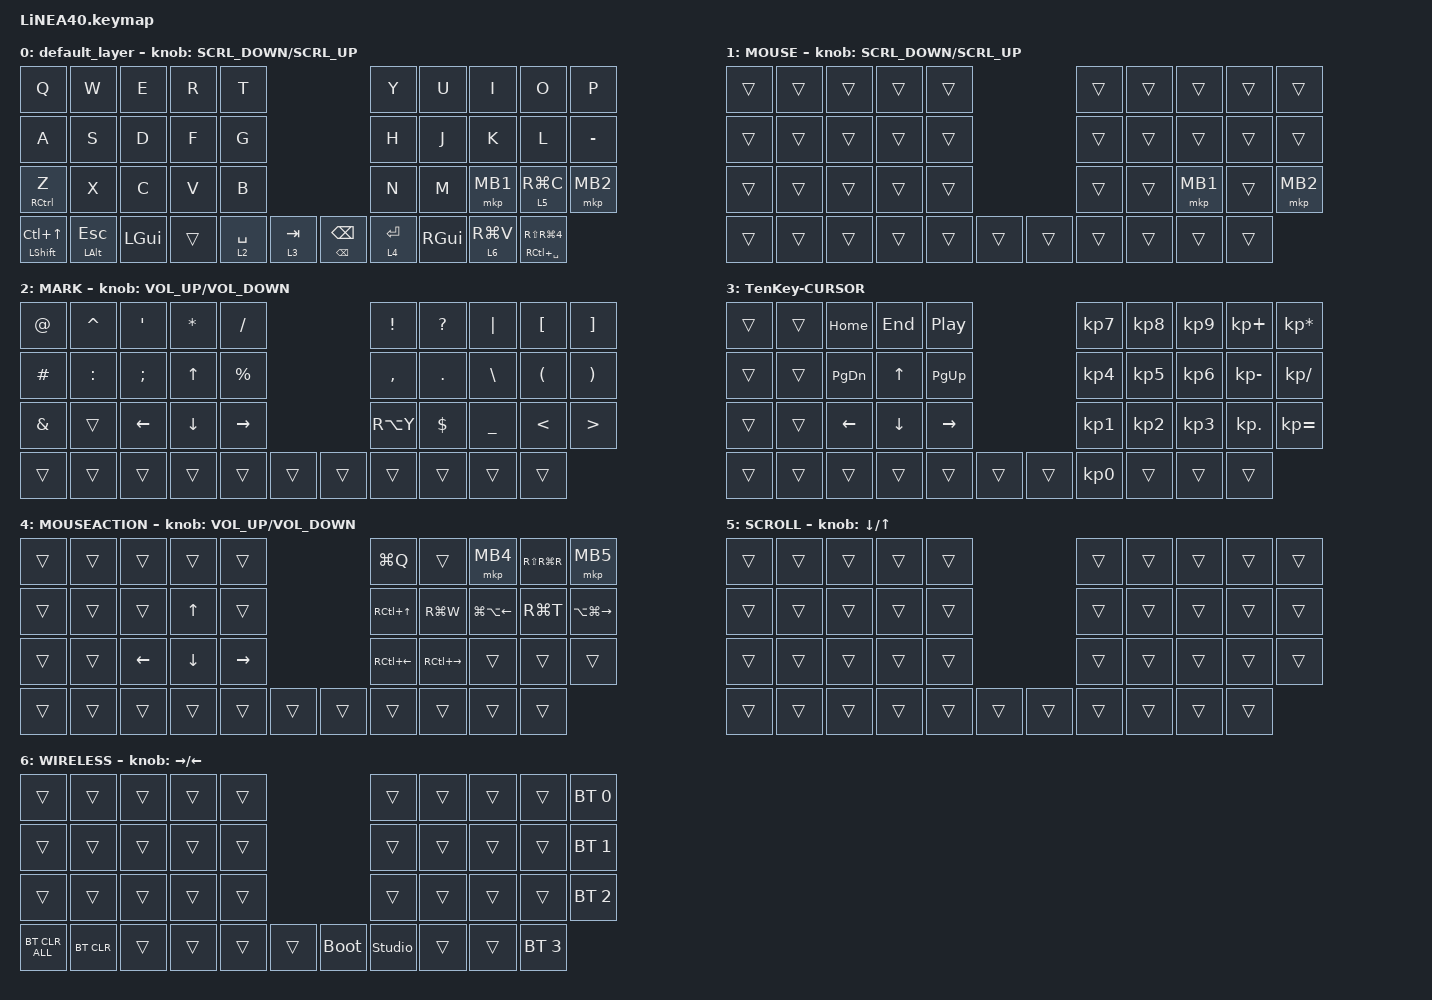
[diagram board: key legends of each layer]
#define ZMK_POINTING_DEFAULT_SCRL_VAL 150

#include <dt-bindings/zmk/input_transform.h>
#include <input/processors.dtsi>
#include <zephyr/dt-bindings/input/input-event-codes.h>
#include <behaviors.dtsi>
#include <dt-bindings/zmk/bt.h>
#include <dt-bindings/zmk/keys.h>
#include <dt-bindings/zmk/pointing.h>

#define MOUSE 1
#define MARK 2
#define CURSOR 3
#define FUNCTION 4
#define SCROLL 5
#define WIRELESS 6

//mouse cursol

&mmv {
    delay-ms = <20>;
    trigger-period-ms = <5>;
    time-to-max-speed-ms = <100>;
    acceleration-exponent = <2>;
};

//mouse scroll

&msc {
    delay-ms = <3>;
    trigger-period-ms = <3>;
    time-to-max-speed-ms = <100>;
    acceleration-exponent = <0>;
};

/ {
    input_processors {
        zip_wheel_scaler: zip_wheel_scaler {
            compatible = "zmk,input-processor-scaler";
            #input-processor-cells = <2>;
            type = <INPUT_EV_REL>;
            codes = <INPUT_REL_WHEEL>;
            track-remainders;
        };
    };
};

&msc_input_listener {
    speed_up {
        layers = <FUNCTION>;
        input-processors = <&zip_wheel_scaler 3 1>; //スクロールを3倍速にする
    };
};

&trackball_listener {
    scroller {
        layers = <SCROLL>;
        input-processors =
            <&zip_xy_transform INPUT_TRANSFORM_Y_INVERT>,
            //スクロール方向を逆転,,,,,,,,,,,,,,,,,,,,,,,,,,,,,,,,,,,
            <&zip_xy_to_scroll_mapper>;
    };
};

/ {
    combos {
        compatible = "zmk,combos";

        InsertKey {
            bindings = <&kp INS>;
            key-positions = <6 7>;
        };
    };

    behaviors {
        re_kp: sensor_rotate_kp {
            compatible = "zmk,behavior-sensor-rotate-var";
            #sensor-binding-cells = <2>;
            bindings = <&kp>, <&kp>;
        };

        mouse_scrl: mouse_wheel_scrl {
            compatible = "zmk,behavior-sensor-rotate-var";
            #sensor-binding-cells = <2>;
            bindings = <&msc>, <&msc>;

            tap-ms = <20>;
        };
    };

    keymap {
        compatible = "zmk,keymap";

        default_layer {
            bindings = <
&kp Q                        &kp W                &kp E         &kp R   &kp T                                              &kp Y        &kp U  &kp I          &kp O        &kp P
&kp A                        &kp S                &kp D         &kp F   &kp G                                              &kp H        &kp J  &kp K          &kp L        &kp MINUS
&mt RCTRL Z                  &kp X                &kp C         &kp V   &kp B                                              &kp N        &kp M  &mkp MB1       &lt 5 RG(C)  &mkp MB2
&mt LEFT_SHIFT LC(UP_ARROW)  &mt LEFT_ALT ESCAPE  &kp LEFT_GUI  &trans  &lt 2 SPACE  &lt 3 TAB    &mt BACKSPACE BACKSPACE  &lt 4 ENTER         &kp RIGHT_GUI  &lt 6 RG(V)  &mt RC(SPACE) RS(RG(NUMBER_4))
            >;

            sensor-bindings = <&mouse_scrl SCRL_DOWN SCRL_UP>;
        };

        //1

        MOUSE {
            bindings = <
&trans  &trans  &trans  &trans  &trans                    &trans  &trans  &trans    &trans  &trans
&trans  &trans  &trans  &trans  &trans                    &trans  &trans  &trans    &trans  &trans
&trans  &trans  &trans  &trans  &trans                    &trans  &trans  &mkp MB1  &trans  &mkp MB2
&trans  &trans  &trans  &trans  &trans  &trans    &trans  &trans          &trans    &trans  &trans
            >;

            sensor-bindings = <&mouse_scrl SCRL_DOWN SCRL_UP>;
        };

        //2

        MARK {
            bindings = <
&kp AT_SIGN    &kp CARET  &kp SQT         &kp ASTERISK    &kp SLASH                          &kp EXCLAMATION  &kp QUESTION  &kp PIPE        &kp LEFT_BRACKET      &kp RIGHT_BRACKET
&kp HASH       &kp COLON  &kp SEMICOLON   &kp UP_ARROW    &kp PERCENT                        &kp COMMA        &kp PERIOD    &kp BACKSLASH   &kp LEFT_PARENTHESIS  &kp RIGHT_PARENTHESIS
&kp AMPERSAND  &trans     &kp LEFT_ARROW  &kp DOWN_ARROW  &kp RIGHT_ARROW                    &kp RA(Y)        &kp DOLLAR    &kp UNDERSCORE  &kp LESS_THAN         &kp GREATER_THAN
&trans         &trans     &trans          &trans          &trans           &trans    &trans  &trans                         &trans          &trans                &trans
            >;

            sensor-bindings = <&re_kp C_VOLUME_UP C_VOLUME_DOWN>;
        };

        //3

        TenKey-CURSOR {
            bindings = <
&trans  &trans  &kp HOME        &kp END         &kp C_PLAY_PAUSE                    &kp KP_NUMBER_7  &kp KP_NUMBER_8  &kp KP_NUMBER_9  &kp KP_PLUS   &kp KP_ASTERISK
&trans  &trans  &kp PAGE_DOWN   &kp UP_ARROW    &kp PAGE_UP                         &kp KP_NUMBER_4  &kp KP_NUMBER_5  &kp KP_NUMBER_6  &kp KP_MINUS  &kp KP_SLASH
&trans  &trans  &kp LEFT_ARROW  &kp DOWN_ARROW  &kp RIGHT_ARROW                     &kp KP_NUMBER_1  &kp KP_NUMBER_2  &kp KP_NUMBER_3  &kp KP_DOT    &kp KP_EQUAL
&trans  &trans  &trans          &trans          &trans            &trans    &trans  &kp KP_NUMBER_0                   &trans           &trans        &trans
            >;
        };

        //4

        MOUSEACTION {
            bindings = <
&trans  &trans  &trans          &trans          &trans                             &kp LG(Q)           &trans               &mkp MB4                &kp RS(RG(R))  &mkp MB5
&trans  &trans  &trans          &kp UP_ARROW    &trans                             &kp RC(UP_ARROW)    &kp RG(W)            &kp LG(LA(LEFT_ARROW))  &kp RG(T)      &kp LA(LG(RIGHT_ARROW))
&trans  &trans  &kp LEFT_ARROW  &kp DOWN_ARROW  &kp RIGHT_ARROW                    &kp RC(LEFT_ARROW)  &kp RC(RIGHT_ARROW)  &trans                  &trans         &trans
&trans  &trans  &trans          &trans          &trans           &trans    &trans  &trans                                   &trans                  &trans         &trans
            >;

            sensor-bindings = <&re_kp C_VOLUME_UP K_VOLUME_DOWN>;
        };

        //5

        SCROLL {
            bindings = <
&trans  &trans  &trans  &trans  &trans                    &trans  &trans  &trans  &trans  &trans
&trans  &trans  &trans  &trans  &trans                    &trans  &trans  &trans  &trans  &trans
&trans  &trans  &trans  &trans  &trans                    &trans  &trans  &trans  &trans  &trans
&trans  &trans  &trans  &trans  &trans  &trans    &trans  &trans          &trans  &trans  &trans
            >;

            sensor-bindings = <&inc_dec_kp DOWN_ARROW UP_ARROW>;
        };

        //6

        WIRELESS {
            bindings = <
&trans          &trans      &trans  &trans  &trans                         &trans          &trans  &trans  &trans  &bt BT_SEL 0
&trans          &trans      &trans  &trans  &trans                         &trans          &trans  &trans  &trans  &bt BT_SEL 1
&trans          &trans      &trans  &trans  &trans                         &trans          &trans  &trans  &trans  &bt BT_SEL 2
&bt BT_CLR_ALL  &bt BT_CLR  &trans  &trans  &trans  &trans    &bootloader  &studio_unlock          &trans  &trans  &bt BT_SEL 3
            >;

            sensor-bindings = <&inc_dec_kp RIGHT_ARROW LEFT_ARROW>;
        };
    };
};
